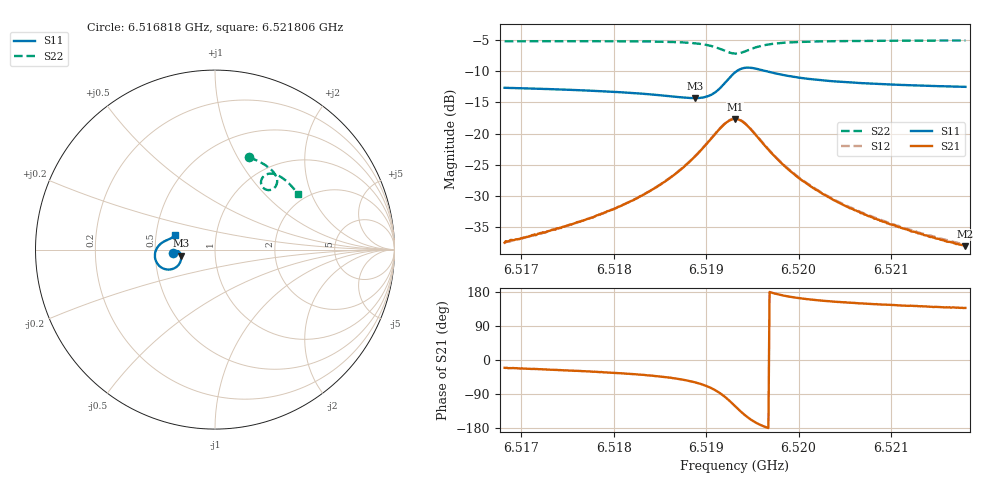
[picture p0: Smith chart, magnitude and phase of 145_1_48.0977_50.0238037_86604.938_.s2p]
#  HZ  S  RI  R  50.00
! Rohde & Schwarz Vector Network Analyzer
! Rohde-Schwarz,ZNB20-2Port,1311601062101988,3.16
! Created: UTC 12/23/2023, 3:49:11 AM
! freq[Hz]  re:S11  im:S11  re:S21  im:S21  re:S12  im:S12  re:S22  im:S22
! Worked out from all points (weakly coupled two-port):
!   401 points, 6.516818 GHz to 6.521806 GHz, reference 50 ohm
!   highest |S21| = -17.65 dB at 6.519312 GHz (marker M1); lowest = -38.0 dB at 6.521806 GHz (marker M2)
!   lowest |S11| = -14.3 dB at 6.518876 GHz (marker M3), VSWR 1.48, Z = 34 - j2.42 ohm
!   |S11| at or under -10 dB: start of sweep to 6.519331 GHz; 6.519649 GHz to end of sweep
!   |S22| runs from -7.2 to -5.1 dB; largest |S21 - S12| = 0.004
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6.516818e9  -0.2317 -0.0205  0.0126 -0.00474  0.0127 -0.00431  0.1904 0.5138
6.5172046e9  -0.2277 -0.0145  0.0146 -0.00657  0.0146 -0.00606  0.2191 0.5027
6.5176535e9  -0.2218 -0.00892  0.0175 -0.00984  0.0178 -0.00924  0.2521 0.4868
6.5181025e9  -0.2136 -0.00608  0.0221 -0.0157  0.0225 -0.015  0.2858 0.467
6.5184891e9  -0.2029 -0.00977  0.0281 -0.0265  0.029 -0.0255  0.3156 0.4431
6.5186761e9  -0.196 -0.017  0.0316 -0.0364  0.0328 -0.0355  0.3301 0.4268
6.5188757e9  -0.1892 -0.0343  0.0339 -0.0558  0.0359 -0.0551  0.3433 0.4013
6.5189879e9  -0.189 -0.0526  0.0309 -0.0738  0.0335 -0.0733  0.3465 0.3808
6.5190752e9  -0.1954 -0.0731  0.0219 -0.0925  0.0249 -0.0924  0.3424 0.361
6.5192124e9  -0.2356 -0.1075  -0.0194 -0.12  -0.0159 -0.1215  0.3121 0.3331
6.5192623e9  -0.2621 -0.1112  -0.0437 -0.1207  -0.0405 -0.1229  0.2932 0.3319
6.5193122e9  -0.2905 -0.1044  -0.0685 -0.1117  -0.0657 -0.1145  0.2748 0.3394
6.5193745e9  -0.319 -0.0811  -0.0914 -0.0884  -0.0896 -0.0918  0.2595 0.3587
6.5194369e9  -0.3331 -0.0507  -0.1005 -0.0607  -0.0996 -0.064  0.2567 0.3814
6.5195366e9  -0.3311 -0.00863  -0.0943 -0.025  -0.0943 -0.028  0.2705 0.4081
6.5196489e9  -0.3156 0.0196  -0.0779 -0.00351  -0.0785 -0.00588  0.2928 0.421
6.5198734e9  -0.2874 0.0433  -0.052 0.0106  -0.0529 0.00922  0.3297 0.4212
6.5201477e9  -0.2666 0.0535  -0.0348 0.0132  -0.0356 0.0123  0.3598 0.409
6.5205343e9  -0.25 0.0609  -0.0227 0.0123  -0.0234 0.0118  0.3908 0.3874
6.5209833e9  -0.2381 0.0674  -0.0156 0.0107  -0.0162 0.0104  0.4193 0.3611
6.5213824e9  -0.2302 0.0732  -0.012 0.00963  -0.0123 0.00953  0.4409 0.337
6.5218064e9  -0.2231 0.079  -0.00926 0.00852  -0.00975 0.00853  0.4612 0.3106
